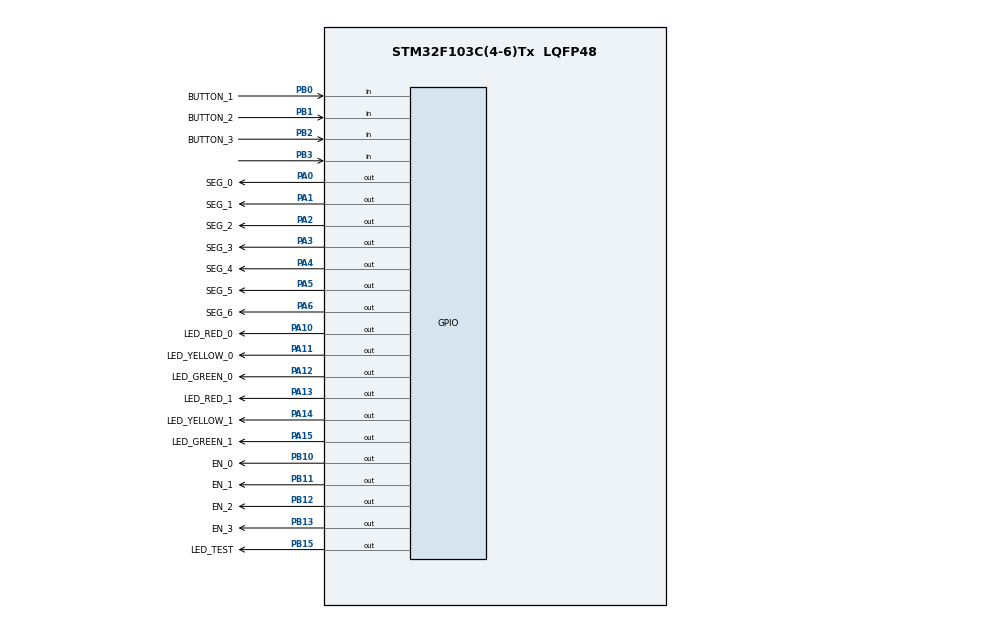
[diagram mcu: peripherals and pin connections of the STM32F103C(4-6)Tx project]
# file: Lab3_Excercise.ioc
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Mcu.Family=STM32F1
Mcu.Name=STM32F103C(4-6)Tx
Mcu.Package=LQFP48
NVIC.PriorityGroup=NVIC_PRIORITYGROUP_4
NVIC.TIM2_IRQn=true\:0\:0\:false\:false\:true\:true\:true\:true
PA0-WKUP.GPIO_Label=SEG_0
PA0-WKUP.Signal=GPIO_Output
PA1.GPIO_Label=SEG_1
PA1.Signal=GPIO_Output
PA10.GPIO_Label=LED_RED_0
PA10.Signal=GPIO_Output
PA11.GPIO_Label=LED_YELLOW_0
PA11.Signal=GPIO_Output
PA12.GPIO_Label=LED_GREEN_0
PA12.Signal=GPIO_Output
PA13.GPIO_Label=LED_RED_1
PA13.Signal=GPIO_Output
PA14.GPIO_Label=LED_YELLOW_1
PA14.Signal=GPIO_Output
PA15.GPIO_Label=LED_GREEN_1
PA15.Signal=GPIO_Output
PA2.GPIO_Label=SEG_2
PA2.Signal=GPIO_Output
PA3.GPIO_Label=SEG_3
PA3.Signal=GPIO_Output
PA4.GPIO_Label=SEG_4
PA4.Signal=GPIO_Output
PA5.GPIO_Label=SEG_5
PA5.Signal=GPIO_Output
PA6.GPIO_Label=SEG_6
PA6.Signal=GPIO_Output
PB0.GPIO_Label=BUTTON_1
PB0.GPIO_PuPd=GPIO_PULLUP
PB0.Signal=GPIO_Input
PB1.GPIO_Label=BUTTON_2
PB1.GPIO_PuPd=GPIO_PULLUP
PB1.Signal=GPIO_Input
PB10.GPIO_Label=EN_0
PB10.Signal=GPIO_Output
PB11.GPIO_Label=EN_1
PB11.Signal=GPIO_Output
PB12.GPIO_Label=EN_2
PB12.Signal=GPIO_Output
PB13.GPIO_Label=EN_3
PB13.Signal=GPIO_Output
PB15.GPIO_Label=LED_TEST
PB15.Signal=GPIO_Output
PB2.GPIO_Label=BUTTON_3
PB2.GPIO_PuPd=GPIO_PULLUP
PB2.Signal=GPIO_Input
PB3.GPIO_PuPd=GPIO_PULLUP
PB3.Signal=GPIO_Input
ProjectManager.HeapSize=0x200
ProjectManager.StackSize=0x400
ProjectManager.TargetToolchain=STM32CubeIDE
RCC.APB1Freq_Value=8000000
RCC.APB2Freq_Value=8000000
TIM2.Period=9
TIM2.Prescaler=7999
TIM3.Period=9
TIM3.Prescaler=7999
VP_TIM2_VS_ClockSourceINT.Mode=Internal
VP_TIM3_VS_ClockSourceINT.Mode=Internal
board=custom

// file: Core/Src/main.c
/* USER CODE BEGIN Header */
/**
  ******************************************************************************
  * @file           : main.c
  * @brief          : Main program body
  ******************************************************************************
  * @attention
  *
  * Copyright (c) 2023 STMicroelectronics.
  * All rights reserved.
  *
  * This software is licensed under terms that can be found in the LICENSE file
  * in the root directory of this software component.
  * If no LICENSE file comes with this software, it is provided AS-IS.
  *
  ******************************************************************************
  */
/* USER CODE END Header */
#include "main.h"

/* USER CODE BEGIN Includes */
#include "software_timer.h"
#include "button.h"
#include "display7SEG.h"
#include "led_control.h"
#include "fsm_main.h"
/* USER CODE END Includes */

TIM_HandleTypeDef htim2;
TIM_HandleTypeDef htim3;

void SystemClock_Config(void);
static void MX_GPIO_Init(void);
static void MX_TIM2_Init(void);
static void MX_TIM3_Init(void);

int main(void)
{

  /* MCU Configuration--------------------------------------------------------*/

  /* Reset of all peripherals, Initializes the Flash interface and the Systick. */
  HAL_Init();

  /* Configure the system clock */
  SystemClock_Config();

  /* Initialize all configured peripherals */
  MX_GPIO_Init();
  MX_TIM2_Init();
  MX_TIM3_Init();
  /* USER CODE BEGIN 2 */
  HAL_TIM_Base_Start_IT(&htim2);

  /* USER CODE END 2 */

  /* Infinite loop */
  /* USER CODE BEGIN WHILE */

  setTimer1(100);
  frequency = 8000000/((htim2.Init.Period+1)*(htim2.Init.Prescaler+1));
  TIME_DURATION = 1000/frequency; //ms
  while (1)
  {
	  main_fsm();
	  scan7SEG();
	  count_down();
    /* USER CODE END WHILE */

  }
}

void SystemClock_Config(void)
{
  RCC_OscInitTypeDef RCC_OscInitStruct = {0};
  RCC_ClkInitTypeDef RCC_ClkInitStruct = {0};

  /** Initializes the RCC Oscillators according to the specified parameters
  * in the RCC_OscInitTypeDef structure.
  */
  RCC_OscInitStruct.OscillatorType = RCC_OSCILLATORTYPE_HSI;
  RCC_OscInitStruct.HSIState = RCC_HSI_ON;
  RCC_OscInitStruct.HSICalibrationValue = RCC_HSICALIBRATION_DEFAULT;
  RCC_OscInitStruct.PLL.PLLState = RCC_PLL_NONE;
  if (HAL_RCC_OscConfig(&RCC_OscInitStruct) != HAL_OK)
  {
    Error_Handler();
  }

  /** Initializes the CPU, AHB and APB buses clocks
  */
  RCC_ClkInitStruct.ClockType = RCC_CLOCKTYPE_HCLK|RCC_CLOCKTYPE_SYSCLK
                              |RCC_CLOCKTYPE_PCLK1|RCC_CLOCKTYPE_PCLK2;
  RCC_ClkInitStruct.SYSCLKSource = RCC_SYSCLKSOURCE_HSI;
  RCC_ClkInitStruct.AHBCLKDivider = RCC_SYSCLK_DIV1;
  RCC_ClkInitStruct.APB1CLKDivider = RCC_HCLK_DIV1;
  RCC_ClkInitStruct.APB2CLKDivider = RCC_HCLK_DIV1;

  if (HAL_RCC_ClockConfig(&RCC_ClkInitStruct, FLASH_LATENCY_0) != HAL_OK)
  {
    Error_Handler();
  }
}

static void MX_TIM2_Init(void)
{

  TIM_ClockConfigTypeDef sClockSourceConfig = {0};
  TIM_MasterConfigTypeDef sMasterConfig = {0};

  htim2.Instance = TIM2;
  htim2.Init.Prescaler = 7999;
  htim2.Init.CounterMode = TIM_COUNTERMODE_UP;
  htim2.Init.Period = 9;
  htim2.Init.ClockDivision = TIM_CLOCKDIVISION_DIV1;
  htim2.Init.AutoReloadPreload = TIM_AUTORELOAD_PRELOAD_DISABLE;
  if (HAL_TIM_Base_Init(&htim2) != HAL_OK)
  {
    Error_Handler();
  }
  sClockSourceConfig.ClockSource = TIM_CLOCKSOURCE_INTERNAL;
  if (HAL_TIM_ConfigClockSource(&htim2, &sClockSourceConfig) != HAL_OK)
  {
    Error_Handler();
  }
  sMasterConfig.MasterOutputTrigger = TIM_TRGO_RESET;
  sMasterConfig.MasterSlaveMode = TIM_MASTERSLAVEMODE_DISABLE;
  if (HAL_TIMEx_MasterConfigSynchronization(&htim2, &sMasterConfig) != HAL_OK)
  {
    Error_Handler();
  }

}

static void MX_TIM3_Init(void)
{

  TIM_ClockConfigTypeDef sClockSourceConfig = {0};
  TIM_MasterConfigTypeDef sMasterConfig = {0};

  htim3.Instance = TIM3;
  htim3.Init.Prescaler = 7999;
  htim3.Init.CounterMode = TIM_COUNTERMODE_UP;
  htim3.Init.Period = 9;
  htim3.Init.ClockDivision = TIM_CLOCKDIVISION_DIV1;
  htim3.Init.AutoReloadPreload = TIM_AUTORELOAD_PRELOAD_DISABLE;
  if (HAL_TIM_Base_Init(&htim3) != HAL_OK)
  {
    Error_Handler();
  }
  sClockSourceConfig.ClockSource = TIM_CLOCKSOURCE_INTERNAL;
  if (HAL_TIM_ConfigClockSource(&htim3, &sClockSourceConfig) != HAL_OK)
  {
    Error_Handler();
  }
  sMasterConfig.MasterOutputTrigger = TIM_TRGO_RESET;
  sMasterConfig.MasterSlaveMode = TIM_MASTERSLAVEMODE_DISABLE;
  if (HAL_TIMEx_MasterConfigSynchronization(&htim3, &sMasterConfig) != HAL_OK)
  {
    Error_Handler();
  }

}

static void MX_GPIO_Init(void)
{
  GPIO_InitTypeDef GPIO_InitStruct = {0};

  /* GPIO Ports Clock Enable */
  __HAL_RCC_GPIOA_CLK_ENABLE();
  __HAL_RCC_GPIOB_CLK_ENABLE();

  /*Configure GPIO pin Output Level */
  HAL_GPIO_WritePin(GPIOA, SEG_0_Pin|SEG_1_Pin|SEG_2_Pin|SEG_3_Pin
                          |SEG_4_Pin|SEG_5_Pin|SEG_6_Pin|LED_RED_0_Pin
                          |LED_YELLOW_0_Pin|LED_GREEN_0_Pin|LED_RED_1_Pin|LED_YELLOW_1_Pin
                          |LED_GREEN_1_Pin, GPIO_PIN_RESET);

  /*Configure GPIO pin Output Level */
  HAL_GPIO_WritePin(GPIOB, EN_0_Pin|EN_1_Pin|EN_2_Pin|EN_3_Pin
                          |LED_TEST_Pin, GPIO_PIN_RESET);

  /*Configure GPIO pins : SEG_0_Pin SEG_1_Pin SEG_2_Pin SEG_3_Pin
                           SEG_4_Pin SEG_5_Pin SEG_6_Pin LED_RED_0_Pin
                           LED_YELLOW_0_Pin LED_GREEN_0_Pin LED_RED_1_Pin LED_YELLOW_1_Pin
                           LED_GREEN_1_Pin */
  GPIO_InitStruct.Pin = SEG_0_Pin|SEG_1_Pin|SEG_2_Pin|SEG_3_Pin
                          |SEG_4_Pin|SEG_5_Pin|SEG_6_Pin|LED_RED_0_Pin
                          |LED_YELLOW_0_Pin|LED_GREEN_0_Pin|LED_RED_1_Pin|LED_YELLOW_1_Pin
                          |LED_GREEN_1_Pin;
  GPIO_InitStruct.Mode = GPIO_MODE_OUTPUT_PP;
  GPIO_InitStruct.Pull = GPIO_NOPULL;
  GPIO_InitStruct.Speed = GPIO_SPEED_FREQ_LOW;
  HAL_GPIO_Init(GPIOA, &GPIO_InitStruct);

  /*Configure GPIO pins : BUTTON_1_Pin BUTTON_2_Pin BUTTON_3_Pin PB3 */
  GPIO_InitStruct.Pin = BUTTON_1_Pin|BUTTON_2_Pin|BUTTON_3_Pin|GPIO_PIN_3;
  GPIO_InitStruct.Mode = GPIO_MODE_INPUT;
  GPIO_InitStruct.Pull = GPIO_PULLUP;
  HAL_GPIO_Init(GPIOB, &GPIO_InitStruct);

  /*Configure GPIO pins : EN_0_Pin EN_1_Pin EN_2_Pin EN_3_Pin
                           LED_TEST_Pin */
  GPIO_InitStruct.Pin = EN_0_Pin|EN_1_Pin|EN_2_Pin|EN_3_Pin
                          |LED_TEST_Pin;
  GPIO_InitStruct.Mode = GPIO_MODE_OUTPUT_PP;
  GPIO_InitStruct.Pull = GPIO_NOPULL;
  GPIO_InitStruct.Speed = GPIO_SPEED_FREQ_LOW;
  HAL_GPIO_Init(GPIOB, &GPIO_InitStruct);

}

/* USER CODE BEGIN 4 */
void HAL_TIM_PeriodElapsedCallback(TIM_HandleTypeDef *htim) {
	timerRun();
	getKeyInput();
}
/* USER CODE END 4 */

void Error_Handler(void)
{
  __disable_irq();
  while (1)
  {
  }
}
